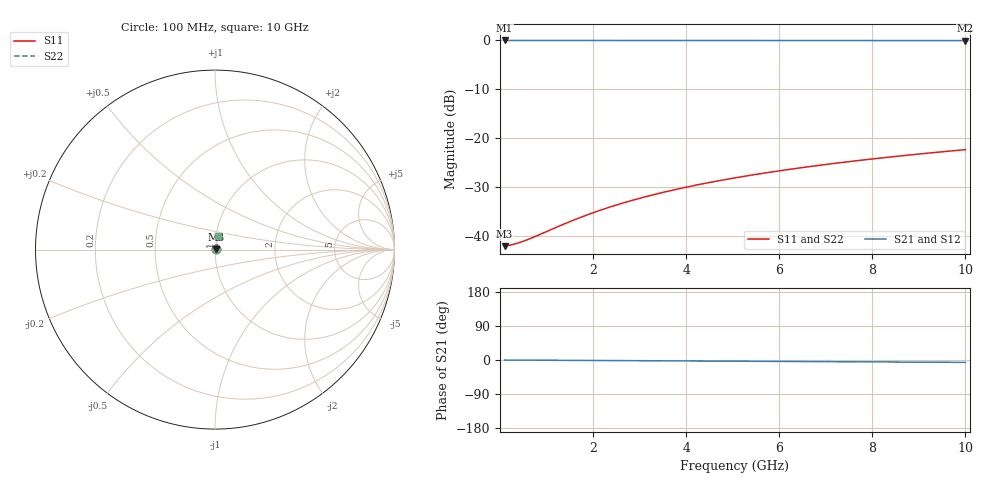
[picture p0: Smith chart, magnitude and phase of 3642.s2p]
# Hz S RI R 50.00
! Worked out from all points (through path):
!   100 points, 100 MHz to 10 GHz, reference 50 ohm
!   highest |S21| = -0.07 dB at 100 MHz (marker M1); lowest = -0.1 dB at 10 GHz (marker M2)
!   lowest |S11| = -42.1 dB at 100 MHz (marker M3), VSWR 1.02, Z = 50.8 + j0.0761 ohm
!   |S11| at or under -10 dB: start of sweep to end of sweep
!   |S22| runs from -42.1 to -22.4 dB; largest |S21 - S12| = 0
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1e8  0.00781 0.000749  0.9922 -0.00108  0.9922 -0.00108  0.00781 0.000749
2e8  0.00786 0.0015  0.9921 -0.00217  0.9921 -0.00217  0.00786 0.0015
3e8  0.0079 0.00225  0.9921 -0.00325  0.9921 -0.00325  0.0079 0.00225
4e8  0.00794 0.003  0.9921 -0.00434  0.9921 -0.00434  0.00794 0.003
6e8  0.008 0.00449  0.992 -0.00651  0.992 -0.00651  0.008 0.00449
8e8  0.00806 0.00599  0.9919 -0.00867  0.9919 -0.00867  0.00806 0.00599
1.4e9  0.00826 0.0105  0.9917 -0.0152  0.9917 -0.0152  0.00826 0.0105
1.8e9  0.00841 0.0135  0.9916 -0.0195  0.9916 -0.0195  0.00841 0.0135
2.2e9  0.00857 0.0165  0.9914 -0.0238  0.9914 -0.0238  0.00857 0.0165
2.6e9  0.00877 0.0194  0.9912 -0.0282  0.9912 -0.0282  0.00877 0.0194
3e9  0.00898 0.0224  0.991 -0.0325  0.991 -0.0325  0.00898 0.0224
3.4e9  0.00922 0.0254  0.9907 -0.0368  0.9907 -0.0368  0.00922 0.0254
3.8e9  0.00948 0.0284  0.9904 -0.0411  0.9904 -0.0411  0.00948 0.0284
4.2e9  0.00976 0.0314  0.9901 -0.0455  0.9901 -0.0455  0.00976 0.0314
4.6e9  0.0101 0.0344  0.9898 -0.0498  0.9898 -0.0498  0.0101 0.0344
5.1e9  0.0105 0.0381  0.9893 -0.0552  0.9893 -0.0552  0.0105 0.0381
5.9e9  0.0113 0.044  0.9885 -0.0638  0.9885 -0.0638  0.0113 0.044
6.7e9  0.0121 0.0499  0.9876 -0.0724  0.9876 -0.0724  0.0121 0.0499
7.5e9  0.0131 0.0558  0.9866 -0.081  0.9866 -0.081  0.0131 0.0558
8.4e9  0.0143 0.0624  0.9853 -0.0906  0.9853 -0.0906  0.0143 0.0624
9.2e9  0.0155 0.0683  0.984 -0.0992  0.984 -0.0992  0.0155 0.0683
1e10  0.0168 0.0741  0.9827 -0.1077  0.9827 -0.1077  0.0168 0.0741
